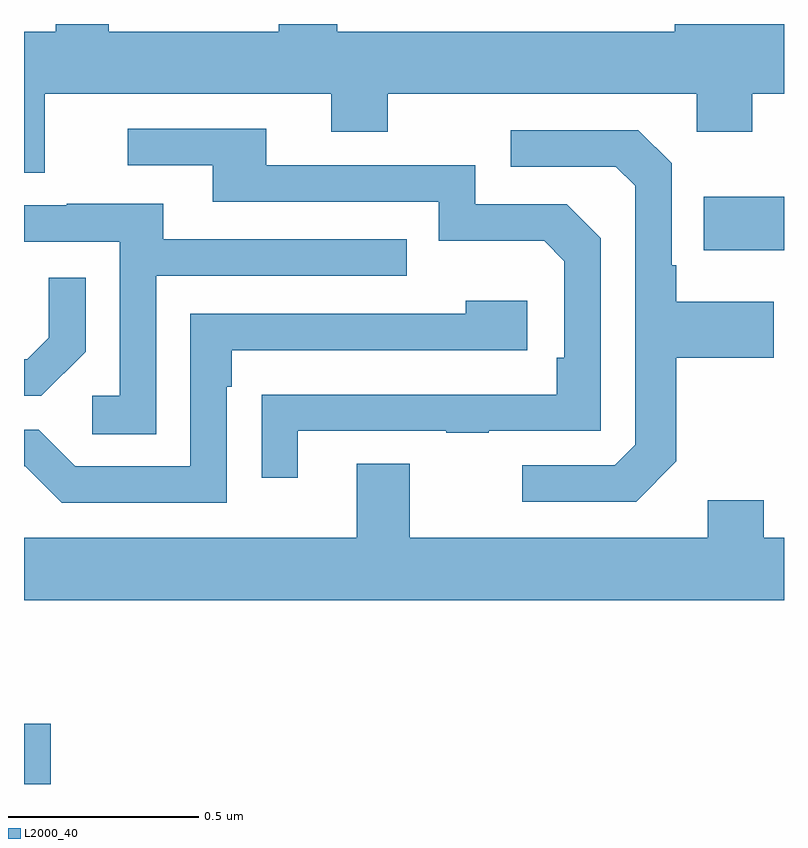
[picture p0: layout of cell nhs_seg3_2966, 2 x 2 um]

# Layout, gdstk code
import gdstk
lib = gdstk.Library(unit=1e-6, precision=1e-09)
def R(c, l, rs):  # rectangles x0, y0, x1, y1
    for r in rs: c.add(gdstk.rectangle(r[:2], r[2:], *l))
def P(c, l, *ps):  # polygons
    for p in ps: c.add(gdstk.Polygon(p, *l))
L2000_40 = (2000, 40)

nhs_seg3_2966 = lib.new_cell('nhs_seg3_2966')
R(nhs_seg3_2966, L2000_40, [(147,732.4,147.071,732.559), (148.789,733.805,149,733.945)])
P(nhs_seg3_2966, L2000_40, [(148.712,734.38),(147.824,734.38),(147.824,734.4),(147.671,734.4),(147.671,734.38),(147.223,734.38),(147.223,734.4),(147.083,734.4),(147.083,734.38),(147,734.38),(147,734.008),(147.055,734.008),(147.055,734.216),(147.809,734.216),(147.809,734.117),(147.957,734.117),(147.957,734.216),(148.77,734.216),(148.77,734.117),(148.917,734.117),(148.917,734.216),(149,734.216),(149,734.4),(148.712,734.4)],
  [(147.721,733.329),(148.111,733.329),(148.111,733.324),(148.223,733.324),(148.223,733.329),(148.518,733.329),(148.518,733.836),(148.428,733.926),(148.188,733.926),(148.188,734.028),(147.637,734.028),(147.637,734.124),(147.273,734.124),(147.273,734.028),(147.497,734.028),(147.497,733.932),(148.092,733.932),(148.092,733.829),(148.369,733.829),(148.422,733.776),(148.422,733.522),(148.402,733.522),(148.402,733.425),(147.727,733.425),(147.727,733.424),(147.625,733.424),(147.625,733.206),(147.721,733.206)],
  [(148.717,733.249),(148.717,733.522),(148.973,733.522),(148.973,733.669),(148.717,733.669),(148.717,733.765),(148.704,733.765),(148.704,734.034),(148.617,734.121),(148.281,734.121),(148.281,734.025),(148.557,734.025),(148.608,733.974),(148.608,733.293),(148.554,733.239),(148.311,733.239),(148.311,733.143),(148.611,733.143)],
  [(147.348,733.737),(148.007,733.737),(148.007,733.833),(147.367,733.833),(147.367,733.927),(147.113,733.927),(147.113,733.923),(147,733.923),(147,733.827),(147.252,733.827),(147.252,733.422),(147.18,733.422),(147.18,733.321),(147.348,733.321)],
  [(147.162,733.538),(147.162,733.732),(147.065,733.732),(147.065,733.575),(147.008,733.518),(147,733.518),(147,733.422),(147.046,733.422)],
  [(147.534,733.445),(147.547,733.445),(147.547,733.542),(148.324,733.542),(148.324,733.672),(148.163,733.672),(148.163,733.638),(147.438,733.638),(147.438,733.236),(147.135,733.236),(147.039,733.332),(147,733.332),(147,733.236),(147.003,733.236),(147.099,733.14),(147.534,733.14)],
  [(149,733.048),(148.947,733.048),(148.947,733.147),(148.799,733.147),(148.799,733.048),(148.015,733.048),(148.015,733.243),(147.875,733.243),(147.875,733.048),(147,733.048),(147,732.884),(149,732.884)])

lib.write_gds('nhs_seg3_2966.gds')
